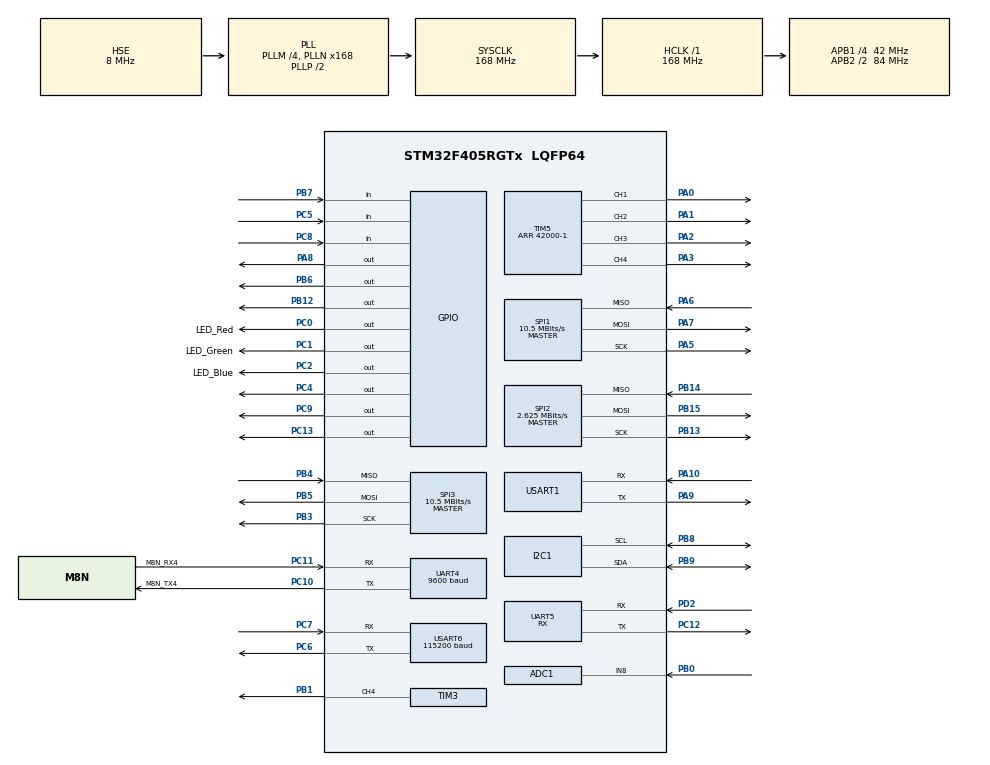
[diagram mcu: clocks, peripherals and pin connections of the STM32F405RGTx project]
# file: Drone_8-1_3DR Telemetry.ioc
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ADC1.Channel-0\#ChannelRegularConversion=ADC_CHANNEL_8
ADC1.ClockPrescaler=ADC_CLOCK_SYNC_PCLK_DIV8
ADC1.ContinuousConvMode=ENABLE
ADC1.DMAContinuousRequests=ENABLE
ADC1.NbrOfConversionFlag=1
ADC1.Rank-0\#ChannelRegularConversion=1
ADC1.SamplingTime-0\#ChannelRegularConversion=ADC_SAMPLETIME_480CYCLES
ADC1.master=1
Dma.ADC1.0.Direction=DMA_PERIPH_TO_MEMORY
Dma.ADC1.0.FIFOMode=DMA_FIFOMODE_DISABLE
Dma.ADC1.0.Instance=DMA2_Stream0
Dma.ADC1.0.MemDataAlignment=DMA_MDATAALIGN_HALFWORD
Dma.ADC1.0.MemInc=DMA_MINC_DISABLE
Dma.ADC1.0.Mode=DMA_CIRCULAR
Dma.ADC1.0.PeriphDataAlignment=DMA_PDATAALIGN_HALFWORD
Dma.ADC1.0.PeriphInc=DMA_PINC_DISABLE
Dma.ADC1.0.Priority=DMA_PRIORITY_LOW
Dma.Request0=ADC1
I2C1.I2C_Mode=I2C_Fast
Mcu.Family=STM32F4
Mcu.Name=STM32F405RGTx
Mcu.Package=LQFP64
NVIC.DMA2_Stream0_IRQn=true\:0\:0\:false\:false\:true\:false\:true\:true
NVIC.PriorityGroup=NVIC_PRIORITYGROUP_4
NVIC.UART4_IRQn=true\:0\:0\:false\:false\:true\:true\:true\:true
NVIC.UART5_IRQn=true\:0\:0\:false\:false\:true\:true\:true\:true
NVIC.USART1_IRQn=true\:0\:0\:false\:false\:true\:true\:true\:true
NVIC.USART6_IRQn=true\:0\:0\:false\:false\:true\:true\:true\:true
PA0-WKUP.Signal=S_TIM5_CH1
PA1.Signal=S_TIM5_CH2
PA10.Mode=Asynchronous
PA10.Signal=USART1_RX
PA2.Signal=S_TIM5_CH3
PA3.Signal=S_TIM5_CH4
PA5.Mode=Full_Duplex_Master
PA5.Signal=SPI1_SCK
PA6.Mode=Full_Duplex_Master
PA6.Signal=SPI1_MISO
PA7.Mode=Full_Duplex_Master
PA7.Signal=SPI1_MOSI
PA8.Signal=GPIO_Output
PA9.Mode=Asynchronous
PA9.Signal=USART1_TX
PB0.Signal=ADCx_IN8
PB1.Signal=S_TIM3_CH4
PB12.Signal=GPIO_Output
PB13.Mode=Full_Duplex_Master
PB13.Signal=SPI2_SCK
PB14.Mode=Full_Duplex_Master
PB14.Signal=SPI2_MISO
PB15.Mode=Full_Duplex_Master
PB15.Signal=SPI2_MOSI
PB3.Mode=Full_Duplex_Master
PB3.Signal=SPI3_SCK
PB4.Mode=Full_Duplex_Master
PB4.Signal=SPI3_MISO
PB5.Mode=Full_Duplex_Master
PB5.Signal=SPI3_MOSI
PB6.Signal=GPIO_Output
PB7.Signal=GPIO_Input
PB8.Mode=I2C
PB8.Signal=I2C1_SCL
PB9.Mode=I2C
PB9.Signal=I2C1_SDA
PC0.GPIO_Label=LED_Red
PC0.Signal=GPIO_Output
PC1.GPIO_Label=LED_Green
PC1.Signal=GPIO_Output
PC10.GPIO_Label=M8N_TX4
PC10.Mode=Asynchronous
PC10.Signal=UART4_TX
PC11.GPIO_Label=M8N_RX4
PC11.Mode=Asynchronous
PC11.Signal=UART4_RX
PC12.Mode=Asynchronous
PC12.Signal=UART5_TX
PC13-ANTI_TAMP.PinState=GPIO_PIN_SET
PC13-ANTI_TAMP.Signal=GPIO_Output
PC2.GPIO_Label=LED_Blue
PC2.Signal=GPIO_Output
PC4.Signal=GPIO_Output
PC5.Signal=GPIO_Input
PC6.Mode=Asynchronous
PC6.Signal=USART6_TX
PC7.Mode=Asynchronous
PC7.Signal=USART6_RX
PC8.Signal=GPIO_Input
PC9.Signal=GPIO_Output
PD2.Mode=Asynchronous
PD2.Signal=UART5_RX
PH0-OSC_IN.Mode=HSE-External-Oscillator
PH0-OSC_IN.Signal=RCC_OSC_IN
PH1-OSC_OUT.Mode=HSE-External-Oscillator
PH1-OSC_OUT.Signal=RCC_OSC_OUT
ProjectManager.HeapSize=0x200
ProjectManager.StackSize=0x400
ProjectManager.TargetToolchain=STM32CubeIDE
RCC.48MHZClocksFreq_Value=84000000
RCC.AHBFreq_Value=168000000
RCC.APB1CLKDivider=RCC_HCLK_DIV4
RCC.APB1Freq_Value=42000000
RCC.APB1TimFreq_Value=84000000
RCC.APB2CLKDivider=RCC_HCLK_DIV2
RCC.APB2Freq_Value=84000000
RCC.APB2TimFreq_Value=168000000
RCC.CortexFreq_Value=168000000
RCC.HCLKFreq_Value=168000000
RCC.HSE_VALUE=8000000
RCC.HSI_VALUE=16000000
RCC.LSE_VALUE=32768
RCC.PLLM=4
RCC.PLLN=168
RCC.PLLSourceVirtual=RCC_PLLSOURCE_HSE
RCC.SYSCLKFreq_VALUE=168000000
RCC.SYSCLKSource=RCC_SYSCLKSOURCE_PLLCLK
RCC.VCOOutputFreq_Value=336000000
SH.ADCx_IN8.0=ADC1_IN8,IN8
SH.S_TIM3_CH4.0=TIM3_CH4,PWM Generation4 CH4
SH.S_TIM5_CH1.0=TIM5_CH1,PWM Generation1 CH1
SH.S_TIM5_CH2.0=TIM5_CH2,PWM Generation2 CH2
SH.S_TIM5_CH3.0=TIM5_CH3,PWM Generation3 CH3
SH.S_TIM5_CH4.0=TIM5_CH4,PWM Generation4 CH4
SPI1.BaudRatePrescaler=SPI_BAUDRATEPRESCALER_8
SPI1.CLKPhase=SPI_PHASE_2EDGE
SPI1.CLKPolarity=SPI_POLARITY_HIGH
SPI1.CalculateBaudRate=10.5 MBits/s
SPI1.Direction=SPI_DIRECTION_2LINES
SPI1.Mode=SPI_MODE_MASTER
SPI1.VirtualType=VM_MASTER
SPI2.BaudRatePrescaler=SPI_BAUDRATEPRESCALER_16
SPI2.CLKPhase=SPI_PHASE_2EDGE
SPI2.CLKPolarity=SPI_POLARITY_HIGH
SPI2.CalculateBaudRate=2.625 MBits/s
SPI2.Direction=SPI_DIRECTION_2LINES
SPI2.Mode=SPI_MODE_MASTER
SPI2.VirtualType=VM_MASTER
SPI3.BaudRatePrescaler=SPI_BAUDRATEPRESCALER_4
SPI3.CLKPhase=SPI_PHASE_2EDGE
SPI3.CLKPolarity=SPI_POLARITY_HIGH
SPI3.CalculateBaudRate=10.5 MBits/s
SPI3.Direction=SPI_DIRECTION_2LINES
SPI3.Mode=SPI_MODE_MASTER
SPI3.VirtualType=VM_MASTER
TIM3.AutoReloadPreload=TIM_AUTORELOAD_PRELOAD_ENABLE
TIM3.Channel-PWM\ Generation4\ CH4=TIM_CHANNEL_4
TIM3.OCFastMode_PWM-PWM\ Generation4\ CH4=TIM_OCFAST_ENABLE
TIM3.Period=21-1
TIM3.Prescaler=1000-1
TIM3.Pulse-PWM\ Generation4\ CH4=11-1
TIM5.AutoReloadPreload=TIM_AUTORELOAD_PRELOAD_ENABLE
TIM5.Channel-PWM\ Generation1\ CH1=TIM_CHANNEL_1
TIM5.Channel-PWM\ Generation2\ CH2=TIM_CHANNEL_2
TIM5.Channel-PWM\ Generation3\ CH3=TIM_CHANNEL_3
TIM5.Channel-PWM\ Generation4\ CH4=TIM_CHANNEL_4
TIM5.OCFastMode_PWM-PWM\ Generation1\ CH1=TIM_OCFAST_ENABLE
TIM5.OCFastMode_PWM-PWM\ Generation2\ CH2=TIM_OCFAST_ENABLE
TIM5.OCFastMode_PWM-PWM\ Generation3\ CH3=TIM_OCFAST_ENABLE
TIM5.OCFastMode_PWM-PWM\ Generation4\ CH4=TIM_OCFAST_ENABLE
TIM5.Period=42000-1
TIM5.Pulse-PWM\ Generation1\ CH1=0
TIM5.Pulse-PWM\ Generation2\ CH2=0
TIM5.Pulse-PWM\ Generation3\ CH3=31500-1
UART4.BaudRate=9600
UART4.VirtualMode=Asynchronous
UART5.Mode=MODE_RX
UART5.VirtualMode=Asynchronous
USART1.VirtualMode=VM_ASYNC
USART6.BaudRate=115200
USART6.VirtualMode=VM_ASYNC
VP_TIM3_VS_ClockSourceINT.Mode=Internal
VP_TIM5_VS_ClockSourceINT.Mode=Internal
board=custom

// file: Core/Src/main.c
/* USER CODE BEGIN Header */
/**
 ******************************************************************************
 * @file           : main.c
 * @brief          : Main program body
 ******************************************************************************
 * @attention
 *
 * Copyright (c) 2024 STMicroelectronics.
 * All rights reserved.
 *
 * This software is licensed under terms that can be found in the LICENSE file
 * in the root directory of this software component.
 * If no LICENSE file comes with this software, it is provided AS-IS.
 *
 ******************************************************************************
 */
/* USER CODE END Header */
#include "main.h"
#include "adc.h"
#include "dma.h"
#include "i2c.h"
#include "spi.h"
#include "tim.h"
#include "usart.h"
#include "gpio.h"

/* USER CODE BEGIN Includes */
#include "BNO080.h"
#include "Quaternion.h"
#include "ICM20602.h"
#include "LPS22HH.h"
#include "M8N.h"
#include "FS-iA6B.h"
#include "AT24C08.h"
/* USER CODE END Includes */

/* USER CODE BEGIN PTD */

int _write(int file, char *p, int len) {
	//기존 방식?? ??�??????? 방식?��?��?�� ?��?��?���??????? ?��번에 많�? ?��?�� 보내질때 ??�??????? 방식?? ???��?��?��?���??????? ?��?�� ?��류�? 발생?��?��.
	//HAL_UART_Transmit(&huart6, p, len, 1);

	//?��?��?��?�� 방식?�� ?��?��?��?�� ?��?��?�� 문제�??????? ?��결한?��.
	HAL_UART_Transmit_IT(&huart6, p, len);
	return len;
}

/* USER CODE END PTD */

/* USER CODE BEGIN PV */
uint8_t uart6_rxData;
uint8_t uart5_rxData;
uint8_t uart4_rxData;
uint8_t uart1_rxData;

uint8_t m8n_rx_buf[36]; //m8n 1frame data size
uint8_t m8n_rx_cplt_flag = 0;

uint8_t ibus_rx_buf[32];
uint8_t ibus_rx_cplt_flag = 0;
/* USER CODE END PV */

void SystemClock_Config(void);
/* USER CODE BEGIN PFP */
int Is_iBus_Throttle_Min(void);
void ESC_Calibration(void);
int Is_iBus_Received();
void BNO080_Calibration(void);

/* USER CODE END PFP */

int main(void)
{

  /* USER CODE BEGIN 1 */
	float q[4];
	float quatRadianAccuracy;
	unsigned char buf_read[16] = { 0 };
	unsigned char buf_write[16] = { 1, 2, 3, 4, 5, 6, 7, 8, 9, 10, 11, 12, 13,
			14, 15, 16 };
	unsigned short adcVal;
	float batVolt;
	//find offset data and init
	short gyro_x_offset =3, gyro_y_offset = 10, gyro_z_offset=-3;

  /* USER CODE END 1 */

  /* MCU Configuration--------------------------------------------------------*/

  /* Reset of all peripherals, Initializes the Flash interface and the Systick. */
  HAL_Init();

  /* Configure the system clock */
  SystemClock_Config();

  /* Initialize all configured peripherals */
  MX_GPIO_Init();
  MX_DMA_Init();
  MX_TIM3_Init();
  MX_USART6_UART_Init();
  MX_SPI2_Init();
  MX_SPI1_Init();
  MX_SPI3_Init();
  MX_UART4_Init();
  MX_UART5_Init();
  MX_TIM5_Init();
  MX_I2C1_Init();
  MX_ADC1_Init();
  MX_USART1_UART_Init();
  /* USER CODE BEGIN 2 */

	M8N_initialization();
	HAL_UART_Receive_IT(&huart1, &uart1_rxData, 1);
	HAL_UART_Receive_IT(&huart6, &uart6_rxData, 1);
	HAL_UART_Receive_IT(&huart4, &uart4_rxData, 1);
	HAL_UART_Receive_IT(&huart5, &uart5_rxData, 1);

	BNO080_Initialization();
	BNO080_enableRotationVector(2500);

	ICM20602_Initialization();
	LPS22HH_Initialization();

	HAL_TIM_PWM_Start(&htim5, TIM_CHANNEL_1);
	HAL_TIM_PWM_Start(&htim5, TIM_CHANNEL_2);
	HAL_TIM_PWM_Start(&htim5, TIM_CHANNEL_3);
	HAL_TIM_PWM_Start(&htim5, TIM_CHANNEL_4);

	// pdata?�� ?��?��?���?? ???��?�� 주소
	HAL_ADC_Start_DMA(&hadc1, &adcVal, 1);

	ICM20602_Writebyte(0x13, (gyro_x_offset*-2)>>8);
	ICM20602_Writebyte(0x14, (gyro_x_offset*-2));

	ICM20602_Writebyte(0x15, (gyro_y_offset*-2)>>8);
	ICM20602_Writebyte(0x16, (gyro_y_offset*-2));

	ICM20602_Writebyte(0x17, (gyro_x_offset*-2)>>8);
	ICM20602_Writebyte(0x18, (gyro_x_offset*-2));

	// adcVal = ADC1->DR; ?�� 코드�?? ?��?��?�� ?��?���?? ?��?���??�?? ?��?��.

//	while(Is_iBus_Received()==0)
//	{
//		HAL_TIM_PWM_Start(&htim3, TIM_CHANNEL_4);
//		htim3.Instance->PSC = 3000;
//		HAL_Delay(200);
//		HAL_TIM_PWM_Stop(&htim3, TIM_CHANNEL_4);
//		HAL_Delay(200);
//	}

//	if(iBus.SwC==2000){
//		HAL_TIM_PWM_Start(&htim3, TIM_CHANNEL_4);
//		htim3.Instance->PSC = 1500;
//		HAL_Delay(200);
//		htim3.Instance->PSC = 2000;
//		HAL_Delay(200);
//		htim3.Instance->PSC = 1500;
//		HAL_Delay(200);
//		htim3.Instance->PSC = 2000;
//		HAL_Delay(200);
//		HAL_TIM_PWM_Stop(&htim3, TIM_CHANNEL_4);
//
//		ESC_Calibration();
//		while(iBus.SwC != 1000)
//		{
//			HAL_TIM_PWM_Start(&htim3, TIM_CHANNEL_4);
//			htim3.Instance->PSC = 1500;
//			HAL_Delay(200);
//			htim3.Instance->PSC = 2000;
//			HAL_Delay(200);
//			HAL_TIM_PWM_Stop(&htim3, TIM_CHANNEL_4);
//
//			Is_iBus_Received();
//		}
//	}
//
//	else if(iBus.SwC == 1500)
//	{
//		HAL_TIM_PWM_Start(&htim3, TIM_CHANNEL_4);
//		htim3.Instance->PSC = 1500;
//		HAL_Delay(200);
//		htim3.Instance->PSC = 2000;
//		HAL_Delay(200);
//		htim3.Instance->PSC = 1500;
//		HAL_Delay(200);
//		htim3.Instance->PSC = 2000;
//		HAL_Delay(200);
//		HAL_TIM_PWM_Stop(&htim3, TIM_CHANNEL_4);
//
//		BNO080_Calibration();
//
//		while(iBus.SwC != 1000)
//		{
//			HAL_TIM_PWM_Start(&htim3, TIM_CHANNEL_4);
//			htim3.Instance->PSC = 1500;
//			HAL_Delay(200);
//			htim3.Instance->PSC = 2000;
//			HAL_Delay(200);
//			HAL_TIM_PWM_Stop(&htim3, TIM_CHANNEL_4);
//
//			Is_iBus_Received();
//		}
//
//	}
//
//	while (Is_iBus_Throttle_Min() == 0){
//		HAL_TIM_PWM_Start(&htim3, TIM_CHANNEL_4);
//		htim3.Instance->PSC = 1000;
//		HAL_Delay(70);
//		HAL_TIM_PWM_Stop(&htim3, TIM_CHANNEL_4);
//		HAL_Delay(70);
//	}

	HAL_TIM_PWM_Start(&htim3, TIM_CHANNEL_4);

	htim3.Instance->PSC = 2000;
	HAL_Delay(100);
	htim3.Instance->PSC = 1500;
	HAL_Delay(100);
	htim3.Instance->PSC = 1000;
	HAL_Delay(100);

	HAL_TIM_PWM_Stop(&htim3, TIM_CHANNEL_4);
//	printf("start\n");
  /* USER CODE END 2 */

  /* Infinite loop */
	while (1) {

    /* USER CODE BEGIN 3 */

		batVolt = adcVal * 0.003619f;
		//printf("%d\t%.2f\n",adcVal, batVolt);
		if (batVolt < 10.0f) {
			htim3.Instance->PSC = 1000;
			HAL_TIM_PWM_Start(&htim3, TIM_CHANNEL_4);
		} else {
			HAL_TIM_PWM_Stop(&htim3, TIM_CHANNEL_4);
		}

//		if (BNO080_dataAvailable() == 1) {
//			q[0] = BNO080_getQuatI();
//			q[1] = BNO080_getQuatJ();
//			q[2] = BNO080_getQuatK();
//			q[3] = BNO080_getQuatReal();
//			quatRadianAccuracy = BNO080_getQuatAccuracy();
//
//			Quaternion_Update(&q[0]);
//
//			printf("%.2f,%.2f,%.2f\n", BNO080_Roll, BNO080_Pitch, BNO080_Yaw);
//		}

	  if(ICM20602_DataReady()==1){
		  ICM20602_Get3AxisGyroRawData(&ICM20602.gyro_x_raw);

		  ICM20602.gyro_x = ICM20602.gyro_x_raw * 2000.f / 32768.f;
		  ICM20602.gyro_y = ICM20602.gyro_y_raw * 2000.f / 32768.f;
		  ICM20602.gyro_z = ICM20602.gyro_z_raw * 2000.f / 32768.f;

		  printf("%.4f,%.4f,%.4f\n", ICM20602.gyro_x_raw,
				  ICM20602.gyro_y_raw,ICM20602.gyro_z_raw);
	  }
//	  if(LPS22HH_DataReady()==1){
//		  LPS22HH_GetPressure(&LPS22HH.pressure_raw);
//		  LPS22HH_GetTemperature(&LPS22HH.temperature_raw);
//
//		  LPS22HH.baroAlt = getAltitude2(LPS22HH.pressure_raw/4096.f,LPS22HH.temperature_raw/100.f);
//
//#define X 0.90f
//
//		  LPS22HH.baroAltFilt = LPS22HH.baroAltFilt * X + LPS22HH.baroAlt *(1.0f - X);
//
//		  printf("%d,%d\n",(int)(LPS22HH.baroAlt*100), (int)(LPS22HH.baroAltFilt*100));
//	  }
//		if (m8n_rx_cplt_flag == 1) {
//			m8n_rx_cplt_flag = 0;
//			if (M8N_UBX_CHKSUM_check(&m8n_rx_buf[0], 36) == 1) //Checksum Same
//					{
//				HAL_GPIO_TogglePin(LED_Blue_GPIO_Port, LED_Blue_Pin);
//				M8N_UBX_NAV_POSLLH_Parsing(&m8n_rx_buf[0], &posllh);
//
//				printf("LAT: %ld\tLON: %ld\tHeight: %ld\n", posllh.lat,
//						posllh.lon, posllh.height);
//			}
//		}
//		if (ibus_rx_cplt_flag == 1) {
//			ibus_rx_cplt_flag = 0;
//			if (iBus_Check_CHKSUM(&ibus_rx_buf[0], sizeof(ibus_rx_buf))) {
//				iBus_Parsing(&ibus_rx_buf[0], &iBus);
//				if (iBus_isActiveFailsafe(&iBus) == 1) {
//					HAL_TIM_PWM_Start(&htim3, TIM_CHANNEL_4);
//				} else {
//					HAL_TIM_PWM_Stop(&htim3, TIM_CHANNEL_4);
//				}
//				printf("%d\t%d\t%d\t%d\t%d\t%d\n",
//						iBus.RH,iBus.RV,iBus.LH,iBus.LV,iBus.SwA,iBus.SwC);
//
//				HAL_Delay(100);
//			}
//		}
//		tim5_ccr4 += 10;
//		if(tim5_ccr4>21000) tim5_ccr4 = 10500;
//		TIM5->CCR4 = tim5_ccr4;
//		HAL_Delay(1);
	}
  /* USER CODE END 3 */
}

void SystemClock_Config(void)
{
  RCC_OscInitTypeDef RCC_OscInitStruct = {0};
  RCC_ClkInitTypeDef RCC_ClkInitStruct = {0};

  /** Configure the main internal regulator output voltage
  */
  __HAL_RCC_PWR_CLK_ENABLE();
  __HAL_PWR_VOLTAGESCALING_CONFIG(PWR_REGULATOR_VOLTAGE_SCALE1);

  /** Initializes the RCC Oscillators according to the specified parameters
  * in the RCC_OscInitTypeDef structure.
  */
  RCC_OscInitStruct.OscillatorType = RCC_OSCILLATORTYPE_HSE;
  RCC_OscInitStruct.HSEState = RCC_HSE_ON;
  RCC_OscInitStruct.PLL.PLLState = RCC_PLL_ON;
  RCC_OscInitStruct.PLL.PLLSource = RCC_PLLSOURCE_HSE;
  RCC_OscInitStruct.PLL.PLLM = 4;
  RCC_OscInitStruct.PLL.PLLN = 168;
  RCC_OscInitStruct.PLL.PLLP = RCC_PLLP_DIV2;
  RCC_OscInitStruct.PLL.PLLQ = 4;
  if (HAL_RCC_OscConfig(&RCC_OscInitStruct) != HAL_OK)
  {
    Error_Handler();
  }

  /** Initializes the CPU, AHB and APB buses clocks
  */
  RCC_ClkInitStruct.ClockType = RCC_CLOCKTYPE_HCLK|RCC_CLOCKTYPE_SYSCLK
                              |RCC_CLOCKTYPE_PCLK1|RCC_CLOCKTYPE_PCLK2;
  RCC_ClkInitStruct.SYSCLKSource = RCC_SYSCLKSOURCE_PLLCLK;
  RCC_ClkInitStruct.AHBCLKDivider = RCC_SYSCLK_DIV1;
  RCC_ClkInitStruct.APB1CLKDivider = RCC_HCLK_DIV4;
  RCC_ClkInitStruct.APB2CLKDivider = RCC_HCLK_DIV2;

  if (HAL_RCC_ClockConfig(&RCC_ClkInitStruct, FLASH_LATENCY_5) != HAL_OK)
  {
    Error_Handler();
  }
}

/* USER CODE BEGIN 4 */
int Is_iBus_Throttle_Min(void) {
	if (ibus_rx_cplt_flag == 1) {
		ibus_rx_cplt_flag = 0;
		if (iBus_Check_CHKSUM(&ibus_rx_buf[0], sizeof(ibus_rx_buf))) {

			iBus_Parsing(&ibus_rx_buf[0], &iBus);
			if (iBus.LV < 1010)
				return 1;
		}
	}
	return 0;
}

void ESC_Calibration(void) {
	TIM5->CCR1 = 21000;
	TIM5->CCR2 = 21000;
	TIM5->CCR3 = 21000;
	TIM5->CCR4 = 21000;
	HAL_Delay(7000);

	TIM5->CCR1 = 10500;
	TIM5->CCR2 = 10500;
	TIM5->CCR3 = 10500;
	TIM5->CCR4 = 10500;
	HAL_Delay(8000);
}

int Is_iBus_Received() {
	if (ibus_rx_cplt_flag == 1) {
		ibus_rx_cplt_flag = 0;
		if (iBus_Check_CHKSUM(&ibus_rx_buf[0], sizeof(ibus_rx_buf))) {

			iBus_Parsing(&ibus_rx_buf[0], &iBus);
			return 1;
		}
	}
	return 0;
}

void HAL_UART_RxCpltCallback(UART_HandleTypeDef *huart) {

	static unsigned char cnt = 0;
	static unsigned char cnt_ibus = 0;

	if(huart->Instance == USART1){
		HAL_UART_Transmit(&huart1, &uart1_rxData, 1, 10);
		HAL_UART_Receive_IT(&huart1, &uart1_rxData, 1);
	}

	if (huart->Instance == UART5) {
		HAL_UART_Receive_IT(&huart5, &uart5_rxData, 1);

		//HAL_UART_Transmit_IT(&huart6, uart5_rxData, 1);

		switch (cnt_ibus) {
		case 0:
			if (uart5_rxData == 0x20) {
				ibus_rx_buf[cnt_ibus] = uart5_rxData;
				cnt_ibus++;
			}
			break;

		case 1:
			if (uart5_rxData == 0x40) {
				ibus_rx_buf[cnt_ibus] = uart5_rxData;
				cnt_ibus++;
			} else {
				cnt_ibus = 0;
			}
			break;

		case 31:
			ibus_rx_buf[cnt_ibus] = uart5_rxData;
			cnt_ibus = 0;
			ibus_rx_cplt_flag = 1;
			break;

		default:
			ibus_rx_buf[cnt_ibus] = uart5_rxData;
			cnt_ibus++;
			break;
		}

	}
	if (huart->Instance == UART4) {

		HAL_UART_Receive_IT(&huart4, &uart4_rxData, 1);

		//GPS�??????? ?��?�� ?��?��받�? ?��?��?���??????? 바로 com?���??????? 보내�???????기에 주석처리?��?��.
		//HAL_UART_Transmit(&huart6, &uart4_rxData, 1, 0);

		switch (cnt) {
		case 0:
			if (uart4_rxData == 0xb5) {
				m8n_rx_buf[cnt] = uart4_rxData;
				cnt++;
			}
			break;
		case 1:
			if (uart4_rxData == 0x62) {
				m8n_rx_buf[cnt] = uart4_rxData;
				cnt++;
			} else
				cnt = 0;
			break;
		case 35:
			m8n_rx_buf[cnt] = uart4_rxData;
			cnt = 0;
			m8n_rx_cplt_flag = 1;
		default: //case?�� 만족?���??????? ?��?��?�� ?��?��?��?��.
			m8n_rx_buf[cnt] = uart4_rxData;
			cnt++;
			break;
		}
	}

	if (huart->Instance == USART6) {
		HAL_UART_Receive_IT(&huart6, &uart6_rxData, 1);
//		HAL_UART_Transmit_IT(&huart4, &uart6_rxData, 1);
	}
}

void BNO080_Calibration(void) {
	//Resets BNO080 to disable All output
	BNO080_Initialization();

	//BNO080/BNO085 Configuration
	//Enable dynamic calibration for accelerometer, gyroscope, and magnetometer
	//Enable Game Rotation Vector output
	//Enable Magnetic Field output
	BNO080_calibrateAll(); //Turn on cal for Accel, Gyro, and Mag
	BNO080_enableGameRotationVector(20000); //Send data update every 20ms (50Hz)
	BNO080_enableMagnetometer(20000); //Send data update every 20ms (50Hz)

	//Once magnetic field is 2 or 3, run the Save DCD Now command
	printf(
			"Calibrating BNO080. Pull up FS-i6 SWC to end calibration and save to flash\n");
	printf("Output in form x, y, z, in uTesla\n\n");

	//while loop for calibration procedure
	//Iterates until iBus.SwC is mid point (1500)
	//Calibration procedure should be done while this loop is in iteration.
	while (iBus.SwC == 1500) {
		if (BNO080_dataAvailable() == 1) {
			//Observing the status bit of the magnetic field output
			float x = BNO080_getMagX();
			float y = BNO080_getMagY();
			float z = BNO080_getMagZ();
			unsigned char accuracy = BNO080_getMagAccuracy();

			float quatI = BNO080_getQuatI();
			float quatJ = BNO080_getQuatJ();
			float quatK = BNO080_getQuatK();
			float quatReal = BNO080_getQuatReal();
			unsigned char sensorAccuracy = BNO080_getQuatAccuracy();

			printf("%f,%f,%f,", x, y, z);
			if (accuracy == 0)
				printf("Unreliable\t");
			else if (accuracy == 1)
				printf("Low\t");
			else if (accuracy == 2)
				printf("Medium\t");
			else if (accuracy == 3)
				printf("High\t");

			printf("\t%f,%f,%f,%f,", quatI, quatI, quatI, quatReal);
			if (sensorAccuracy == 0)
				printf("Unreliable\n");
			else if (sensorAccuracy == 1)
				printf("Low\n");
			else if (sensorAccuracy == 2)
				printf("Medium\n");
			else if (sensorAccuracy == 3)
				printf("High\n");

			//Turn the LED and buzzer on when both accuracy and sensorAccuracy is high
			if (accuracy == 3 && sensorAccuracy == 3) {
				HAL_GPIO_WritePin(GPIOC, LED_Blue_Pin|LED_Green_Pin|LED_Red_Pin, 1);
				htim3.Instance->PSC = 65000; //Very low frequency
				HAL_TIM_PWM_Start(&htim3, TIM_CHANNEL_4);

			} else {
				HAL_GPIO_WritePin(GPIOC, LED_Blue_Pin|LED_Green_Pin|LED_Red_Pin, 0);

				HAL_TIM_PWM_Stop(&htim3, TIM_CHANNEL_4);
			}
		}

		Is_iBus_Received(); //Refreshes iBus Data for iBus.SwC
		HAL_Delay(100);
	}

	//Ends the loop when iBus.SwC is not mid point
	//Turn the LED and buzzer off
	HAL_GPIO_WritePin(GPIOC, LED_Blue_Pin|LED_Green_Pin|LED_Red_Pin, 0);

	HAL_TIM_PWM_Stop(&htim3, TIM_CHANNEL_4);

	//Saves the current dynamic calibration data (DCD) to memory
	//Sends command to get the latest calibration status
	BNO080_saveCalibration();
	BNO080_requestCalibrationStatus();

	//Wait for calibration response, timeout if no response
	int counter = 100;
	while (1) {
		if (--counter == 0)
			break;
		if (BNO080_dataAvailable()) {
			//The IMU can report many different things. We must wait
			//for the ME Calibration Response Status byte to go to zero
			if (BNO080_calibrationComplete() == 1) {
				printf("\nCalibration data successfully stored\n");
				HAL_TIM_PWM_Start(&htim3, TIM_CHANNEL_4);
				TIM3->PSC = 2000;
				HAL_Delay(300);
				TIM3->PSC = 1500;
				HAL_Delay(300);
				HAL_TIM_PWM_Stop(&htim3, TIM_CHANNEL_4);
				HAL_Delay(1000);
				break;
			}
		}
		HAL_Delay(10);
	}
	if (counter == 0) {
		printf("\nCalibration data failed to store. Please try again.\n");
		HAL_TIM_PWM_Start(&htim3, TIM_CHANNEL_4);
		TIM3->PSC = 1500;
		HAL_Delay(300);
		TIM3->PSC = 2000;
		HAL_Delay(300);
		HAL_TIM_PWM_Stop(&htim3, TIM_CHANNEL_4);
		HAL_Delay(1000);
	}

	//BNO080_endCalibration(); //Turns off all calibration
	//In general, calibration should be left on at all times. The BNO080
	//auto-calibrates and auto-records cal data roughly every 5 minutes

	//Resets BNO080 to disable Game Rotation Vector and Magnetometer
	//Enables Rotation Vector
	BNO080_Initialization();
	BNO080_enableRotationVector(2500); //Send data update every 2.5ms (400Hz)
}

/* USER CODE END 4 */

void Error_Handler(void)
{
	__disable_irq();
	while (1) {
	}
}
